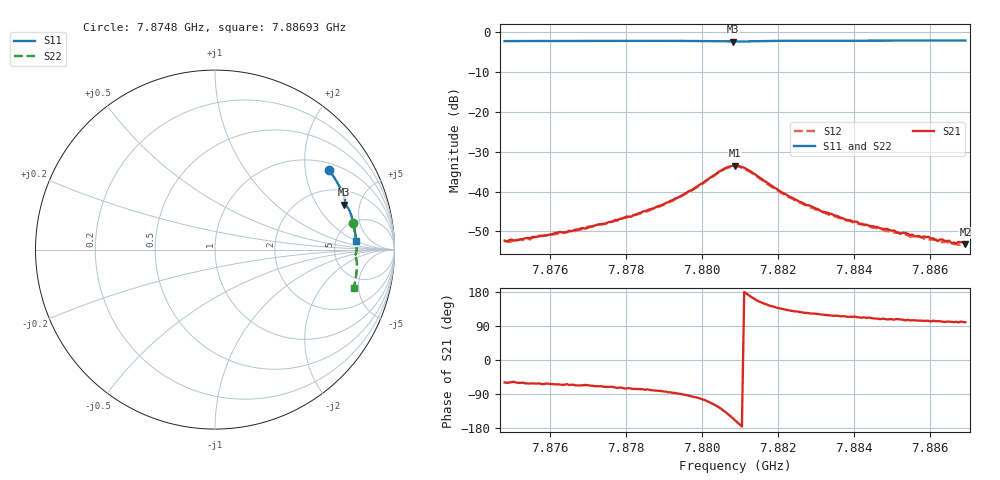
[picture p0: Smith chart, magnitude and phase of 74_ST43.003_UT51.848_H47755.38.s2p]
#  HZ  S  DB  R  50.00
! Rohde & Schwarz Vector Network Analyzer
! Rohde-Schwarz,ZNB20-2Port,1311601062101988,3.16
! Created: UTC 1/12/2023, 6:34:40 PM
! freq[Hz]  db:S11  ang:S11  db:S21  ang:S21  db:S12  ang:S12  db:S22  ang:S22
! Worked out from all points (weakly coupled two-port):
!   201 points, 7.8748 GHz to 7.88693 GHz, reference 50 ohm
!   highest |S21| = -33.49 dB at 7.88086 GHz (marker M1); lowest = -53.2 dB at 7.88693 GHz (marker M2)
!   lowest |S11| = -2.4 dB at 7.8808 GHz (marker M3), VSWR 7.43, Z = 149 + j178 ohm
!   |S11| at or under -10 dB: nowhere
!   |S22| runs from -2.2 to -1.9 dB; largest |S21 - S12| = 0.0014
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7.874797e9  -2.23 35.1  -52.33 -59.1  -52.46 -61.6  -2.15 11.0
7.875464e9  -2.22 33.3  -51.72 -62.2  -52.03 -64.3  -2.13 9.5
7.875949e9  -2.21 31.9  -50.88 -62.4  -50.64 -66.5  -2.11 8.3
7.876859e9  -2.20 29.5  -49.16 -66.7  -49.39 -70.4  -2.08 6.2
7.878133e9  -2.18 26.0  -46.30 -75.6  -46.25 -78.1  -2.06 3.2
7.878861e9  -2.18 23.9  -43.59 -81.5  -43.85 -85.1  -2.05 1.5
7.87971e9  -2.19 21.5  -39.72 -95.6  -39.78 -98.7  -2.07 -0.6
7.880438e9  -2.29 19.5  -35.02 -124.8  -35.21 -128.0  -2.16 -2.3
7.880802e9  -2.35 19.1  -33.52 -153.6  -33.74 -157.1  -2.23 -2.5
7.880862e9  -2.35 19.1  -33.49 -159.2  -33.66 -162.5  -2.23 -2.6
7.881105e9  -2.32 18.9  -34.03 179.6  -34.26 176.2  -2.20 -2.6
7.882257e9  -2.16 16.0  -41.06 131.6  -41.33 128.3  -2.01 -5.0
7.882924e9  -2.13 14.1  -43.94 122.7  -44.16 118.9  -1.99 -6.6
7.883774e9  -2.11 11.8  -47.07 115.1  -47.25 111.1  -1.96 -8.5
7.884926e9  -2.10 8.8  -49.68 107.6  -50.00 105.2  -1.94 -11.1
7.885593e9  -2.09 7.0  -51.30 104.6  -51.30 102.1  -1.93 -12.6
7.885957e9  -2.09 6.1  -51.36 103.4  -52.07 98.7  -1.93 -13.4
7.8862e9  -2.08 5.4  -52.43 102.5  -52.05 99.7  -1.93 -13.8
7.886321e9  -2.08 5.1  -52.04 101.2  -52.75 99.7  -1.92 -14.1
7.886564e9  -2.08 4.5  -52.94 100.6  -53.07 97.1  -1.92 -14.6
7.886746e9  -2.08 4.0  -52.64 99.1  -53.39 95.4  -1.93 -15.0
7.886928e9  -2.08 3.5  -53.21 99.6  -53.71 96.9  -1.92 -15.4
